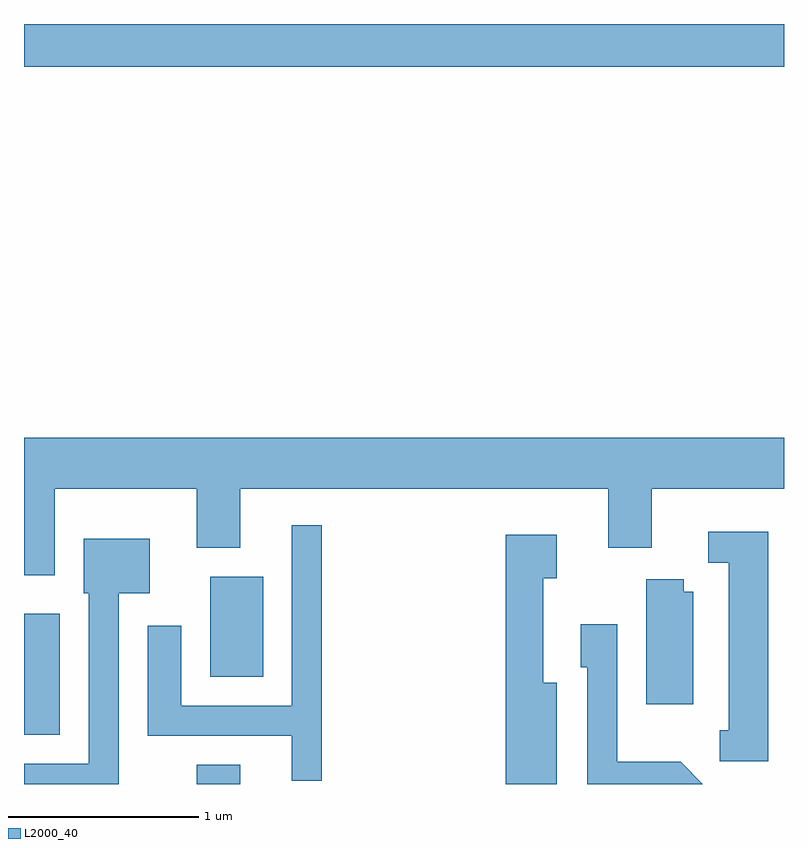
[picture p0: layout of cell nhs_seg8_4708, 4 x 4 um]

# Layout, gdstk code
import gdstk
lib = gdstk.Library(unit=1e-6, precision=1e-09)
def R(c, l, rs):  # rectangles x0, y0, x1, y1
    for r in rs: c.add(gdstk.rectangle(r[:2], r[2:], *l))
def P(c, l, *ps):  # polygons
    for p in ps: c.add(gdstk.Polygon(p, *l))
L2000_40 = (2000, 40)

nhs_seg8_4708 = lib.new_cell('nhs_seg8_4708')
R(nhs_seg8_4708, L2000_40, [(326.521,1910.342,326.749,1910.444), (325.611,1910.601,325.799,1911.239), (326.591,1910.906,326.869,1911.434), (325.611,1914.116,329.611,1914.342)])
P(nhs_seg8_4708, L2000_40, [(325.774,1911.896),(326.521,1911.896),(326.521,1911.586),(326.749,1911.586),(326.749,1911.896),(328.686,1911.896),(328.686,1911.586),(328.914,1911.586),(328.914,1911.896),(329.611,1911.896),(329.611,1912.164),(325.611,1912.164),(325.611,1911.441),(325.774,1911.441)],
  [(327.179,1911.703),(327.021,1911.703),(327.021,1910.754),(326.439,1910.754),(326.439,1911.174),(326.261,1911.174),(326.261,1910.596),(327.021,1910.596),(327.021,1910.358),(327.179,1910.358)],
  [(329.529,1911.669),(329.213,1911.669),(329.213,1911.506),(329.321,1911.506),(329.321,1910.624),(329.273,1910.624),(329.273,1910.461),(329.529,1910.461)],
  [(328.414,1910.874),(328.344,1910.874),(328.344,1911.426),(328.414,1911.426),(328.414,1911.654),(328.146,1911.654),(328.146,1910.342),(328.414,1910.342)],
  [(326.109,1911.346),(326.274,1911.346),(326.274,1911.634),(325.926,1911.634),(325.926,1911.346),(325.951,1911.346),(325.951,1910.449),(325.611,1910.449),(325.611,1910.342),(326.109,1910.342)],
  [(329.134,1911.354),(329.084,1911.354),(329.084,1911.419),(328.886,1911.419),(328.886,1910.761),(329.134,1910.761)],
  [(329.067,1910.459),(328.734,1910.459),(328.734,1911.184),(328.541,1911.184),(328.541,1910.956),(328.576,1910.956),(328.576,1910.342),(329.184,1910.342)])

lib.write_gds('nhs_seg8_4708.gds')
